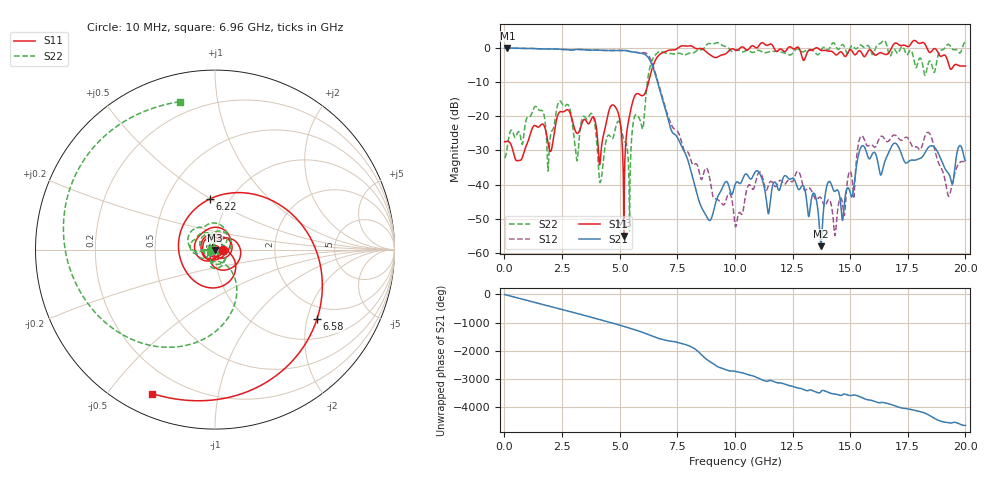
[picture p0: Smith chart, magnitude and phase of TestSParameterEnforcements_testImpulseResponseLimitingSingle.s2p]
! File created by SignalIntegrity v1.1.3: Signal and Power Integrity Tools
! https://github.com/TeledyneLeCroy/SignalIntegrity
# MHz MA S R 50.0
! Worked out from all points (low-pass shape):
!   2000 points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, 10 MHz to 20 GHz, reference 50 ohm
!   highest |S21| = -0.03 dB at 130 MHz (marker M1); lowest = -58.0 dB at 13.73 GHz (marker M2)
!   |S21| within 3 dB of the highest: start of sweep to 6.26 GHz
!   lowest |S11| = -54.9 dB at 5.18 GHz (marker M3), VSWR 1.00, Z = 49.9 - j0.135 ohm
!   |S11| at or under -10 dB: start of sweep to 6.256 GHz
!   |S22| runs from -53.5 to 2.1 dB; largest |S21 - S12| = 0.096
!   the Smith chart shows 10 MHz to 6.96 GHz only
!   S11 on the Smith chart (normalised r, x): 10 MHz: 1.09, -0.01; 6.22 GHz: 0.81, +0.50; 6.58 GHz: 1.58, -2.30; 6.96 GHz: 0.10, -0.65
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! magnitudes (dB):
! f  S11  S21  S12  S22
! 10 MHz  -27.4  0.0  0.0  -32.2
! 130 MHz  -27.3  0.0  0.0  -28.7
! 3.35 GHz  -22.3  -0.5  -0.5  -21.2
! 3.84 GHz  -20.2  -0.7  -0.7  -19.8
! 4.18 GHz  -31.3  -0.7  -0.7  -39.0
! 4.77 GHz  -16.9  -0.8  -0.7  -24.9
! 5.18 GHz  -54.9  -0.7  -0.7  -26.9
! 5.43 GHz  -19.8  -1.0  -1.1  -53.5
! 6.22 GHz  -10.9  -2.7  -2.0  -9.2
! 6.58 GHz  -3.3  -8.5  -8.0  -1.8
! 6.68 GHz  -2.3  -10.8  -10.3  -1.3
! 6.96 GHz  -1.2  -17.4  -17.0  -1.4
! 8.83 GHz  -1.6  -50.0  -35.9  1.2
! 10.01 GHz  -0.6  -39.9  -51.9  -0.8
! 11.06 GHz  0.8  -36.5  -36.3  -0.8
! 13.34 GHz  -0.7  -43.5  -42.0  -0.7
! 13.73 GHz  -0.7  -58.0  -43.8  -0.9
! 14.06 GHz  -1.0  -39.2  -44.3  -0.6
! 16.67 GHz  -1.5  -30.6  -27.2  -1.5
! 18.42 GHz  -1.2  -28.9  -24.8  -4.0
! 19.28 GHz  -5.0  -36.8  -43.4  1.0
! 20 GHz  -5.3  -32.9  -33.3  1.7
